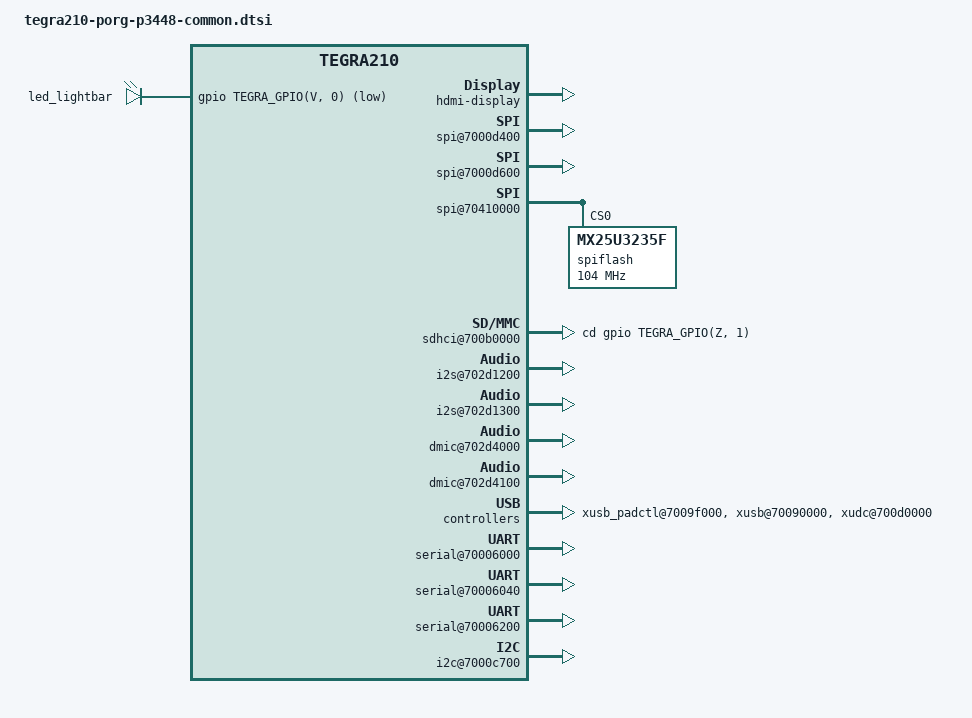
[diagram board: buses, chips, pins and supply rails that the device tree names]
/*
 * arch/arm64/boot/dts/tegra210-porg-p3448-common.dtsi
 *
 * Copyright (c) 2018-2019, NVIDIA CORPORATION.  All rights reserved.
 *
 * This program is free software; you can redistribute it and/or modify
 * it under the terms of the GNU General Public License as published by
 * the Free Software Foundation; version 2 of the License.
 *
 * This program is distributed in the hope that it will be useful, but WITHOUT
 * ANY WARRANTY; without even the implied warranty of MERCHANTABILITY or
 * FITNESS FOR A PARTICULAR PURPOSE.  See the GNU General Public License for
 * more details.
 *
 * You should have received a copy of the GNU General Public License along
 * with this program; if not, write to the Free Software Foundation, Inc.,
 * 51 Franklin Street, Fifth Floor, Boston, MA  02110-1301, USA.
 *
 */
/dts-v1/;
/memreserve/ 0x80000000 0x00020000;

#include <t210-common-platforms/tegra210-common.dtsi>
#include <tegra210-soc/tegra210-sdhci.dtsi>
#include <t210-common-platforms/tegra210-p2530-common.dtsi>
#include "porg-platforms/tegra210-porg-power-tree-p3448-0000-a00.dtsi"
#include "porg-platforms/tegra210-pinmux-drive-sdmmc-common.dtsi"
#include "porg-platforms/tegra210-porg-pwm-fan.dtsi"
#include "porg-platforms/tegra210-porg-camera.dtsi"
#include "porg-platforms/tegra210-porg-camera-avt-a00.dtsi"
#include <t210-common-platforms/tegra210-ers-hdmi-e2190-1100-a00.dtsi>
#include <t210-common-platforms/tegra210-dp.dtsi>
#include "porg-platforms/tegra210-porg-thermal.dtsi"
#include "porg-platforms/tegra210-porg-thermal-fan-est.dtsi"
#include "porg-platforms/tegra210-porg-keys-p3448-0000-a00.dtsi"
#include <dt-bindings/iio/meter/ina3221x.h>
#include <tegra210-soc/tegra210-audio.dtsi>
#include "porg-platforms/tegra210-porg-cpufreq.dtsi"
#include "porg-platforms/tegra210-porg-powermon-p3448-0000-a00.dtsi"
#include "porg-plugin-manager/tegra210-porg-eeprom-manager.dtsi"
#include <tegra210-soc/mods-simple-bus.dtsi>
#include "porg-platforms/tegra210-porg-extcon-p3448-0000-a00.dtsi"
#include "porg-platforms/tegra210-porg-p3448-emc-a00.dtsi"
#include "porg-platforms/tegra210-porg-pcie.dtsi"
#include "porg-platforms/tegra210-porg-prods.dtsi"
#include "porg-platforms/tegra210-porg-super-module-e2614.dtsi"

/ {
        nvidia,boardids = "3448";
        nvidia,proc-boardid = "3448";
        nvidia,pmu-boardid = "3448";
	nvidia,fastboot-usb-pid = <0xb442>;

	chosen {
		nvidia,tegra-porg-sku;
		stdout-path = "/serial@70006000";
		nvidia,tegra-always-on-personality;
		bootargs = "kmemleak=on earlycon=uart8250,mmio32,0x70006000";
	};

	rollback-protection {
		status = "okay";
	};

	watchdog@60005100 {
		status = "okay";
	};

	tegra_wdt: watchdog@60005100 {
		status = "disabled";
	};

	host1x {
		/* Camera unit clocks */
		assigned-clocks = <&tegra_car TEGRA210_CLK_EXTERN3>,
						<&tegra_car TEGRA210_CLK_CILE>,
						<&tegra_car TEGRA210_CLK_CILCD>,
						<&tegra_car TEGRA210_CLK_CILAB>,
						<&tegra_car TEGRA210_CLK_VI_I2C>,
						<&tegra_car TEGRA210_CLK_CLK_OUT_3_MUX>,
						<&tegra_car TEGRA210_CLK_VI>,
						<&tegra_car TEGRA210_CLK_ISP>,
						<&tegra_car TEGRA210_CLK_ISPB>;
		assigned-clock-parents = <&tegra_car TEGRA210_CLK_PLL_P>,
						<&tegra_car TEGRA210_CLK_PLL_P>,
						<&tegra_car TEGRA210_CLK_PLL_P>,
						<&tegra_car TEGRA210_CLK_PLL_P>,
						<&tegra_car TEGRA210_CLK_PLL_P>,
						<&tegra_car TEGRA210_CLK_EXTERN3>,
						<&tegra_car TEGRA210_CLK_PLL_C>,
						<&tegra_car TEGRA210_CLK_PLL_C>,
						<&tegra_car TEGRA210_CLK_ISP>;
		assigned-clock-rates = <24000000>,
						<102000000>,
						<102000000>,
						<102000000>,
						<102000000>,
						<24000000>,
						<408000000>,
						<408000000>,
						<0>;

		/* tegradc.0 */
		dc@54200000 {
			status = "okay";
			nvidia,dc-flags = <TEGRA_DC_FLAG_ENABLED>;
			nvidia,emc-clk-rate = <300000000>;
			nvidia,cmu-enable = <1>;
			nvidia,fb-bpp = <32>; /* bits per pixel */
			nvidia,fb-flags = <TEGRA_FB_FLIP_ON_PROBE>;
			nvidia,dc-or-node = "/host1x/sor1";
			nvidia,50hz-ss-war;
			nvidia,dc-connector = <&sor1>;
		};
		dc@54240000 {
			status = "okay";
			nvidia,dc-flags = <TEGRA_DC_FLAG_ENABLED>;
			nvidia,emc-clk-rate = <300000000>;
			nvidia,cmu-enable = <1>;
			nvidia,fb-bpp = <32>; /* bits per pixel */
			nvidia,fb-flags = <TEGRA_FB_FLIP_ON_PROBE>;
			nvidia,dc-or-node = "/host1x/sor";
			nvidia,50hz-ss-war;
			nvidia,dc-connector = <&sor0>;
		};
		sor {
			status = "okay";
			nvidia,xbar-ctrl = <2 1 0 3 4>;
			dp-display {
				status = "okay";
			};
		};
		sor1 {
			/* Compared to Jetson-TX1's baseboard (P2597), HDMI TX
			 * lanes 0 and 2 have been swapped in Porg's baseboard
			 * (P3448) making it a straight lane mapping between
			 * SOR1 and the pad.
			 */
			nvidia,xbar-ctrl = <0 1 2 3 4>;
			status = "okay";
			hdmi-display {
				status = "okay";
			};
		};
		dpaux {
			status = "okay";
		};
		dpaux1 {
			status = "okay";
		};
	};

	pwm@7000a000 {
		nvidia,no-clk-sleeping-in-ops;
	};

	pmc@7000e400 {
		nvidia,core-pwr-req-active-high;
		nvidia,sys-clock-req-active-high;
		iopad-defaults {
			audio-hv-pads {
				pins = "audio-hv";
				nvidia,power-source-voltage = <TEGRA_IO_PAD_VOLTAGE_1800000UV>;
			};

			spi-hv-pads {
				pins = "spi-hv";
				nvidia,power-source-voltage = <TEGRA_IO_PAD_VOLTAGE_1800000UV>;
			};

			gpio-pads {
				pins = "gpio";
				nvidia,power-source-voltage = <TEGRA_IO_PAD_VOLTAGE_1800000UV>;
			};

			sdmmc-io-pads {
				pins = "sdmmc1", "sdmmc3";
				nvidia,enable-voltage-switching;
			};
		};
	};

	spi@7000d400 { /* SPI 1 to 40 pin header */
		status = "okay";
	};

	spi@7000d600 { /* SPI 2 to 40 pin header */
		status = "okay";
	};

	spi@7000d800 {
		status = "disabled";
	};

	spi@7000da00 {
		status = "disabled";
	};

	spi@70410000 {
		status = "okay";
		spi-max-frequency = <104000000>;
		spiflash@0 {
			#address-cells = <1>;
			#size-cells = <1>;
			compatible = "MX25U3235F";
			reg = <0>;
			spi-max-frequency = <104000000>;
			controller-data {
				nvidia,x1-len-limit = <4194304>;
				nvidia,x1-bus-speed = <104000000>;
				nvidia,x1-dymmy-cycle = <8>;
				nvidia,ctrl-bus-clk-ratio = /bits/ 8 <0x01>;
			};
		};
	};

	sdhci@700b0600 { /* SDMMC4 for EMMC */
		uhs-mask = <0x0>;
		mmc-hs400-enhanced-strobe;
		built-in;
		power-off-rail;
		status = "disabled";
		bus-width = <8>;
		non-removable;
	};

	sdhci@700b0200 { /* SDMMC2 for Wifi */
		uhs-mask = <0x8>;
		power-off-rail;
		force-non-removable-rescan;
		status = "disabled";
	};

	sdhci@700b0000 { /* SDMMC1 for SD card */
		default-drv-type = <1>;
		cd-gpios = <&gpio TEGRA_GPIO(Z, 1) 0>;
		sd-uhs-sdr104;
		sd-uhs-sdr50;
		sd-uhs-sdr25;
		sd-uhs-sdr12;
		mmc-ddr-1_8v;
		mmc-hs200-1_8v;
		nvidia,cd-wakeup-capable;
		nvidia,update-pinctrl-settings;
		nvidia,pmc-wakeup = <&tegra_pmc PMC_WAKE_TYPE_GPIO 35
			PMC_TRIGGER_TYPE_NONE>;
		no-sdio;
		no-mmc;
		disable-wp;
		status = "okay";
	};

	aconnect@702c0000 {
		adma {
			status = "okay";
		};

		ahub {
			i2s@702d1000 {
				status = "disabled";
			};

			i2s@702d1100 {
				status = "disabled";
			};

			i2s@702d1200 {
				regulator-supplies = "vdd-1v8-dmic";
				vdd-1v8-dmic-supply = <&max77620_sd3>;
				fsync-width = <15>;
				status = "okay";
			};

			i2s@702d1300 {
				regulator-supplies = "vddio-uart";
				vddio-uart-supply = <&max77620_sd3>;
				fsync-width = <15>;
				status = "okay";

				/*
				 * I2S4 on Jetson Nano uses the I2S4B pads
                                 * and to use these pads bit 0 in the I2S_CYA
				 * register must be set.
				 */
				enable-cya;
			};

			i2s@702d1400 {
				status = "disabled";
			};

			dmic@702d4000 {
				regulator-supplies = "vdd-1v8-dmic";
				vdd-1v8-dmic-supply = <&max77620_sd3>;
				status = "okay";
			};

			dmic@702d4100 {
				regulator-supplies = "vdd-1v8-dmic";
				vdd-1v8-dmic-supply = <&max77620_sd3>;
				status = "okay";
			};

			dmic@702d4200 {
				status = "disabled";
			};
		};
	};

	hda@70030000 {
		status = "okay";
	};

	sound_card: sound {
		status = "okay";
		compatible = "nvidia,tegra-audio-t210ref-mobile-rt565x";
		nvidia,model = "tegra-snd-t210ref-mobile-rt565x";

		clocks = <&tegra_car TEGRA210_CLK_PLL_P_OUT1>,
			<&tegra_car TEGRA210_CLK_PLL_A>,
			<&tegra_car TEGRA210_CLK_PLL_A_OUT0>,
			<&tegra_car TEGRA210_CLK_D_AUDIO>,
			<&tegra_car TEGRA210_CLK_CLK_M>,
			<&tegra_car TEGRA210_CLK_EXTERN1>;
		clock-names = "pll_p_out1", "pll_a", "pll_a_out0", "ahub",
			"clk_m", "extern1";

		assigned-clocks = <&tegra_car TEGRA210_CLK_PLL_A>,
			<&tegra_car TEGRA210_CLK_PLL_A_OUT0>,
			<&tegra_car TEGRA210_CLK_D_AUDIO>,
			<&tegra_car TEGRA210_CLK_EXTERN1>;
		assigned-clock-rates = <368640000>, <36864000>,
			<36864000>, <12288000>;
		nvidia,num-codec-link = <4>;

		nvidia,audio-routing =
			"x Headphone",	"x OUT",
			"x IN",		"x Mic",
			"y Headphone",	"y OUT",
			"y IN",		"y Mic",
			"a IN",		"a Mic",
			"b IN",		"b Mic";

		nvidia,xbar = <&tegra_axbar>;

		i2s_dai_link1: nvidia,dai-link-1 {
			link-name = "spdif-dit-0";
			cpu-dai = <&tegra_i2s4>;
			codec-dai = <&spdif_dit0>;
			cpu-dai-name = "I2S4";
			codec-dai-name = "dit-hifi";
			format = "i2s";
			bitclock-slave;
			frame-slave;
			bitclock-noninversion;
			frame-noninversion;
			bit-format = "s16_le";
			bclk_ratio = <1>;
			srate = <48000>;
			num-channel = <2>;
			ignore_suspend;
			name-prefix = "x";
			status = "okay";
		};
		nvidia,dai-link-2 {
			link-name = "spdif-dit-1";
			cpu-dai = <&tegra_i2s3>;
			codec-dai = <&spdif_dit1>;
			cpu-dai-name = "I2S3";
			codec-dai-name = "dit-hifi";
			format = "i2s";
			bitclock-slave;
			frame-slave;
			bitclock-noninversion;
			frame-noninversion;
			bit-format = "s16_le";
			bclk_ratio = <1>;
			srate = <48000>;
			num-channel = <2>;
			ignore_suspend;
			name-prefix = "y";
			status = "okay";
		};
		nvidia,dai-link-3 {
			link-name = "spdif-dit-2";
			cpu-dai = <&tegra_dmic1>;
			codec-dai = <&spdif_dit2>;
			cpu-dai-name = "DMIC1";
			codec-dai-name = "dit-hifi";
			format = "i2s";
			bit-format = "s16_le";
			srate = <48000>;
			ignore_suspend;
			num-channel = <2>;
			name-prefix = "a";
			status = "okay";
		};
		nvidia,dai-link-4 {
			link-name = "spdif-dit-3";
			cpu-dai = <&tegra_dmic2>;
			codec-dai = <&spdif_dit3>;
			cpu-dai-name = "DMIC2";
			codec-dai-name = "dit-hifi";
			format = "i2s";
			bit-format = "s16_le";
			srate = <48000>;
			ignore_suspend;
			num-channel = <2>;
			name-prefix = "b";
			status = "okay";
		};
	};

	extcon {
		extcon@0 {
			status = "disabled";
		};
	};

	xusb_padctl@7009f000 {
		status = "okay";

		pads {
			usb2 {
				status = "okay";

				lanes {
					usb2-0 {
						status = "okay";
						nvidia,function = "xusb";
					};
					usb2-1 {
						status = "okay";
						nvidia,function = "xusb";
					};
					usb2-2 {
						status = "okay";
						nvidia,function = "xusb";
					};
				};
			};

			pcie {
				status = "okay";

				lanes {
					pcie-0 {
						status = "okay";
						nvidia,function = "pcie-x1";
					};
					pcie-1 {
						status = "okay";
						nvidia,function = "pcie-x4";
					};
					pcie-2 {
						status = "okay";
						nvidia,function = "pcie-x4";
					};
					pcie-3 {
						status = "okay";
						nvidia,function = "pcie-x4";
					};
					pcie-4 {
						status = "okay";
						nvidia,function = "pcie-x4";
					};
					pcie-5 {
						status = "okay";
						nvidia,function = "xusb";
					};
					pcie-6 {
						status = "okay";
						nvidia,function = "xusb";
					};
				};
			};
		};

		ports {
			usb2-0 {
				status = "okay";
				mode = "otg";
				nvidia,usb3-port-fake = <3>;
			};
			usb2-1 {
				status = "okay";
				mode = "host";
			};
			usb2-2 {
				status = "okay";
				mode = "host";
			};
			usb3-0 {
				status = "okay";
				nvidia,usb2-companion = <1>;
			};
		};
	};


	xusb@70090000 {
		phys = <&{/xusb_padctl@7009f000/pads/usb2/lanes/usb2-0}>,
				<&{/xusb_padctl@7009f000/pads/usb2/lanes/usb2-1}>,
				<&{/xusb_padctl@7009f000/pads/usb2/lanes/usb2-2}>,
				<&{/xusb_padctl@7009f000/pads/pcie/lanes/pcie-6}>;
		phy-names = "usb2-0", "usb2-1", "usb2-2", "usb3-0";
		#extcon-cells = <1>;
		nvidia,pmc-wakeup =
			<&tegra_pmc
				PMC_WAKE_TYPE_EVENT 39 PMC_TRIGGER_TYPE_HIGH>,
			<&tegra_pmc
				PMC_WAKE_TYPE_EVENT 40 PMC_TRIGGER_TYPE_HIGH>,
			<&tegra_pmc
				PMC_WAKE_TYPE_EVENT 41 PMC_TRIGGER_TYPE_HIGH>,
			<&tegra_pmc
				PMC_WAKE_TYPE_EVENT 42 PMC_TRIGGER_TYPE_HIGH>,
			<&tegra_pmc
				PMC_WAKE_TYPE_EVENT 44 PMC_TRIGGER_TYPE_HIGH>;
		status = "okay";
	};

	xudc@700d0000 {
		phys =  <&{/xusb_padctl@7009f000/pads/usb2/lanes/usb2-0}>;
		phy-names = "usb2";
		charger-detector = <&tegra_usb_cd>;
		#extcon-cells = <1>;
		status = "okay";
	};

	tegra_usb_cd: usb_cd {
		reg = <0x0 0x7009f000 0x0 0x1000>;
		phys = <&{/xusb_padctl@7009f000/pads/usb2/lanes/usb2-0}>;
		phy-names = "otg-phy";
		status = "disabled";
	};

	psy_extcon_xudc {
		status = "disabled";
		/delete-property/ dt-override-status-odm-data;
	};

	xotg {
		status = "disabled";
		#extcon-cells = <1>;
	};

	chosen {
		nvidia,bootloader-xusb-enable;
		nvidia,bootloader-vbus-enable=<0x1>;
		nvidia,fastboot_without_usb;
		nvidia,gpu-disable-power-saving;
		board-has-eeprom;
		firmware-blob-partition = "RP4";

		verified-boot {
			poweroff-on-red-state;
		};
	};

	gpu-dvfs-rework {
		status = "okay";
	};

	pwm-leds {
		compatible = "pwm-leds";
		lightbar {
			label = "led_lightbar";
			pwms = <&tegra_pwm 0 10000000>;
			gpios = <&gpio TEGRA_GPIO(V, 0) GPIO_ACTIVE_LOW>;
			max-brightness = <255>;
			default-brightness = <255>;
			linux,default-trigger = "default-on";
		};
	};

	pwm_regulators {
		compatible = "simple-bus";
		pwm-regulator@0 {
			regulator-min-microvolt = <708000>;
			regulator-max-microvolt = <1323400>;
		};

		pwm-regulator@1 {
			regulator-min-microvolt = <708000>;
			regulator-max-microvolt = <1323400>;
		};
	};
	soctherm@0x700E2000 {
		throttle-cfgs {
			/delete-node/ oc1;
		};
	};

	serial@70006000 { /* UART-A : UART1: Debug */
		compatible = "nvidia,tegra20-uart", "nvidia,tegra114-hsuart";
		console-port;
		sqa-automation-port;
		/delete-property/ resets;
		/delete-property/ reset-names;
		status = "okay";
	};

	serial@70006040 { /* UART-B : UART2 40 pin header */
		compatible = "nvidia,tegra114-hsuart";
		status = "okay";
	};

	serial@70006200 { /* UART-C : UART3 : M.2 Key E */
		compatible = "nvidia,tegra114-hsuart";
		dma-names = "tx";
		nvidia,adjust-baud-rates = <921600 921600 100>;
		status = "okay";
	};

	serial@70006300 { /* UART-D not used */
		status = "disabled";
	};

	i2c@7000c700 { /* i2c4 */
		status = "okay";
	};

	nvs_dsm {
		compatible = "nvidia,nvs_dsm";
		status = "okay";
	};

	dfll_cap: dfll-cdev-cap {
		compatible = "nvidia,tegra-dfll-cdev-action";
		act-dev = <&tegra_clk_dfll>;
		cdev-type = "DFLL-cap";
		#cooling-cells = <2>; /* min followed by max */
	};

	dfll_floor: dfll-cdev-floor {
		compatible = "nvidia,tegra-dfll-cdev-action";
		act-dev = <&tegra_clk_dfll>;
		cdev-type = "DFLL-floor";
		#cooling-cells = <2>; /* min followed by max */
	};

	i2c@7000c000 {
		tegra_nct72: temp-sensor@4c {
			status = "disabled";
		};
	};
	clock@70110000 {
                status = "okay";
                vdd-cpu-supply = <&cpu_ovr_reg>;
                nvidia,dfll-max-freq-khz = <1479000>;
	};

	dvfs {
                vdd-cpu-supply = <&cpu_ovr_reg>;
                nvidia,gpu-max-freq-khz = <921600>;
	};

	rtc {
		nvidia,pmc-wakeup = <&tegra_pmc PMC_WAKE_TYPE_EVENT 16
			PMC_TRIGGER_TYPE_HIGH>;
	};

	nvpmodel {
		status = "okay";
	};

	r8168 {
		isolate-gpio = <&gpio TEGRA_GPIO(X, 3) 0>;
	};

	tegra_udrm: tegra_udrm {
		compatible = "nvidia,tegra-udrm";
	};

	soft_wdt: soft_watchdog {
		status = "okay";
	};
};

#if LINUX_VERSION >= 414
#include <tegra210-linux-4.14.dtsi>
#endif
